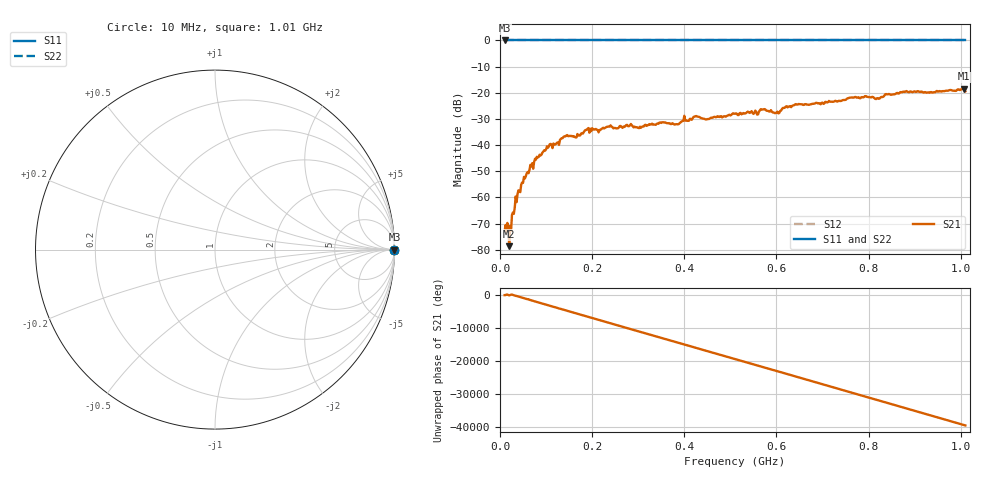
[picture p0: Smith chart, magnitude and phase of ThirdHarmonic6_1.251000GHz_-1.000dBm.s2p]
! 8/16/2025 1:22:43 PM
! C:\ANRITSUVNA\TEMP\TEMP.S2P
! CHANNEL.1
! TR.MEASUREMENT
! RAW.DATA
! RF.CORRECTION.OFF
! AVERAGING.OFF
! IF.BANDWIDTH: 5KHZ
! SWEEPTYPE:  FREQ.SWEEP(Linear)
! Reference Plane Port Info
! PORT:  PORT1  PORT2
! DISTANCE:  0  m  0  m
! TIME:  0  s  0  s
! PHASE.OFFSET:  0  deg.  0  deg.
! LOSS:  0  dB  0  dB
! REF.LOSS:  0  dB  0  dB
! REF.FREQ:  0  Hz  0  Hz
! Power Info
! POWER:  -20  dBm  -20  dBm
! EFF.POWER:  -20  dBm  -20  dBm
! SOURCE.ATTEN:  0  dB  0  dB
! TEST.ATTEN:  0  dB  0  dB
# GHZ S RI R 50.0
! FREQ.GHZ  S11RE  S11IM  S21RE  S21IM  S12RE  S12IM  S22RE  S22IM
!; PortSelection: Port_12
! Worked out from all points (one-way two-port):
!   501 points, 10 MHz to 1.01 GHz, reference 50 ohm
!   highest |S21| = -18.47 dB at 1.006 GHz (marker M1); lowest = -78.7 dB at 20 MHz (marker M2)
!   lowest |S11| = 0.0 dB at 10 MHz (marker M3)
!   |S11| at or under -10 dB: nowhere
!   |S22| runs from 0.0 to 0.0 dB; largest |S21 - S12| = 1.1
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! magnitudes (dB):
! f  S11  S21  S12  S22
! 10 MHz  0.0  -73.0  0.0  0.0
! 20 MHz  0.0  -78.7  0.0  0.0
! 24 MHz  0.0  -72.8  0.0  0.0
! 30 MHz  0.0  -66.3  0.0  0.0
! 38 MHz  0.0  -58.7  0.0  0.0
! 56 MHz  0.0  -51.9  0.0  0.0
! 78 MHz  0.0  -45.6  0.0  0.0
! 142 MHz  0.0  -36.7  0.0  0.0
! 178 MHz  0.0  -35.4  0.0  0.0
! 236 MHz  0.0  -32.9  0.0  0.0
! 344 MHz  0.0  -31.9  0.0  0.0
! 384 MHz  0.0  -32.0  0.0  0.0
! 424 MHz  0.0  -29.0  0.0  0.0
! 450 MHz  0.0  -30.1  0.0  0.0
! 510 MHz  0.0  -28.0  0.0  0.0
! 570 MHz  0.0  -26.4  0.0  0.0
! 602 MHz  0.0  -27.2  0.0  0.0
! 618 MHz  0.0  -25.7  0.0  0.0
! 678 MHz  0.0  -24.2  0.0  0.0
! 844 MHz  0.0  -20.5  0.0  0.0
! 1.006 GHz  0.0  -18.5  0.0  0.0
! 1.01 GHz  0.0  -19.5  0.0  0.0
